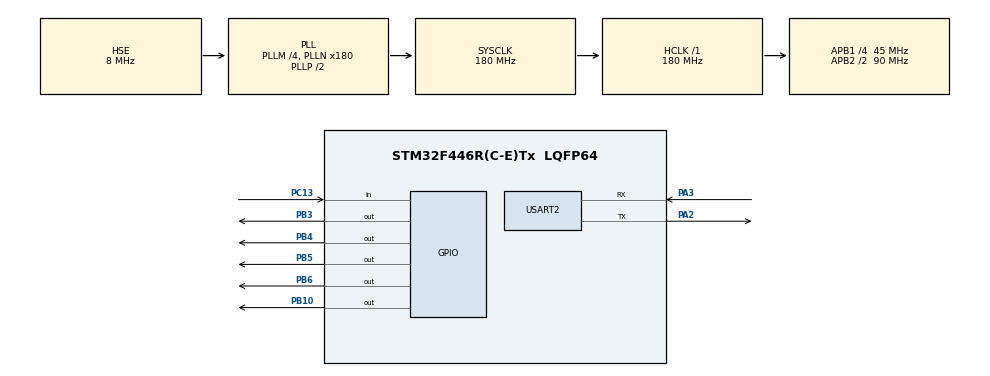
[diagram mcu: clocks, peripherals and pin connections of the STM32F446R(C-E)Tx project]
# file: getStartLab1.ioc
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FREERTOS.Tasks01=Task1,24,128,StartTask1,Default,NULL,Dynamic,NULL,NULL;Task2,24,128,StartTask2,Default,NULL,Dynamic,NULL,NULL;Task3,24,128,StartTask3,Default,NULL,Dynamic,NULL,NULL;Task4,24,128,StartTask4,Default,NULL,Dynamic,NULL,NULL;Task5,24,128,StartTask5,Default,NULL,Dynamic,NULL,NULL;Task6,24,128,StartTask6,Default,NULL,Dynamic,NULL,NULL
FREERTOS.configUSE_NEWLIB_REENTRANT=1
Mcu.Family=STM32F4
Mcu.Name=STM32F446R(C-E)Tx
Mcu.Package=LQFP64
NVIC.PriorityGroup=NVIC_PRIORITYGROUP_4
NVIC.TIM6_DAC_IRQn=true\:15\:0\:false\:false\:true\:false\:false\:true\:true
NVIC.TimeBase=TIM6_DAC_IRQn
NVIC.TimeBaseIP=TIM6
PA13.Mode=Serial_Wire
PA13.Signal=SYS_JTMS-SWDIO
PA14.Mode=Serial_Wire
PA14.Signal=SYS_JTCK-SWCLK
PA2.Mode=Asynchronous
PA2.Signal=USART2_TX
PA3.Mode=Asynchronous
PA3.Signal=USART2_RX
PB10.Signal=GPIO_Output
PB3.Signal=GPIO_Output
PB4.Signal=GPIO_Output
PB5.Signal=GPIO_Output
PB6.Signal=GPIO_Output
PC13.Signal=GPIO_Input
PH0-OSC_IN.Mode=HSE-External-Oscillator
PH0-OSC_IN.Signal=RCC_OSC_IN
PH1-OSC_OUT.Mode=HSE-External-Oscillator
PH1-OSC_OUT.Signal=RCC_OSC_OUT
ProjectManager.HeapSize=0x200
ProjectManager.StackSize=0x400
ProjectManager.TargetToolchain=STM32CubeIDE
RCC.48MHZClocksFreq_Value=84000000
RCC.AHBFreq_Value=180000000
RCC.APB1CLKDivider=RCC_HCLK_DIV4
RCC.APB1Freq_Value=45000000
RCC.APB1TimFreq_Value=90000000
RCC.APB2CLKDivider=RCC_HCLK_DIV2
RCC.APB2Freq_Value=90000000
RCC.APB2TimFreq_Value=180000000
RCC.CortexFreq_Value=180000000
RCC.FLatency-AdvancedSettings=FLASH_LATENCY_5
RCC.HCLKFreq_Value=180000000
RCC.HSE_VALUE=8000000
RCC.HSI_VALUE=16000000
RCC.PLLM=4
RCC.PLLN=180
RCC.PLLSourceVirtual=RCC_PLLSOURCE_HSE
RCC.SYSCLKFreq_VALUE=180000000
RCC.SYSCLKSource=RCC_SYSCLKSOURCE_PLLCLK
RCC.USBFreq_Value=180000000
RCC.VCOOutputFreq_Value=360000000
USART2.VirtualMode=VM_ASYNC
VP_FREERTOS_VS_CMSIS_V2.Mode=CMSIS_V2
VP_SYS_VS_tim6.Mode=TIM6
board=NUCLEO-F446RE

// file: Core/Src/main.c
/* USER CODE BEGIN Header */
/**
  ******************************************************************************
  * @file           : main.c
  * @brief          : Main program body
  ******************************************************************************
  * @attention
  *
  * Copyright (c) 2024 STMicroelectronics.
  * All rights reserved.
  *
  * This software is licensed under terms that can be found in the LICENSE file
  * in the root directory of this software component.
  * If no LICENSE file comes with this software, it is provided AS-IS.
  *
  ******************************************************************************
  */
/* USER CODE END Header */
#include "main.h"
#include "cmsis_os.h"

UART_HandleTypeDef huart2;

/* Definitions for Task1 */
osThreadId_t Task1Handle;
const osThreadAttr_t Task1_attributes = {
  .name = "Task1",
  .stack_size = 128 * 4,
  .priority = (osPriority_t) osPriorityNormal,
};
/* Definitions for Task2 */
osThreadId_t Task2Handle;
const osThreadAttr_t Task2_attributes = {
  .name = "Task2",
  .stack_size = 128 * 4,
  .priority = (osPriority_t) osPriorityNormal,
};
/* Definitions for Task3 */
osThreadId_t Task3Handle;
const osThreadAttr_t Task3_attributes = {
  .name = "Task3",
  .stack_size = 128 * 4,
  .priority = (osPriority_t) osPriorityNormal,
};
/* Definitions for Task4 */
osThreadId_t Task4Handle;
const osThreadAttr_t Task4_attributes = {
  .name = "Task4",
  .stack_size = 128 * 4,
  .priority = (osPriority_t) osPriorityNormal,
};
/* Definitions for Task5 */
osThreadId_t Task5Handle;
const osThreadAttr_t Task5_attributes = {
  .name = "Task5",
  .stack_size = 128 * 4,
  .priority = (osPriority_t) osPriorityNormal,
};
/* Definitions for Task6 */
osThreadId_t Task6Handle;
const osThreadAttr_t Task6_attributes = {
  .name = "Task6",
  .stack_size = 128 * 4,
  .priority = (osPriority_t) osPriorityNormal,
};

void SystemClock_Config(void);
static void MX_GPIO_Init(void);
static void MX_USART2_UART_Init(void);
void StartTask1(void *argument);
void StartTask2(void *argument);
void StartTask3(void *argument);
void StartTask4(void *argument);
void StartTask5(void *argument);
void StartTask6(void *argument);

/* USER CODE BEGIN 0 */
uint8_t dataTask1[] = "Task1: How are you?\r\n";
uint8_t dataTask2[] = "Task2: I am fine and you.\r\n";
uint8_t dataTask3[] = "Task3: It is nice you see here, Task3\r\n";

int flag = 0;

/* USER CODE END 0 */

int main(void)
{

  /* MCU Configuration--------------------------------------------------------*/

  /* Reset of all peripherals, Initializes the Flash interface and the Systick. */
  HAL_Init();

  /* Configure the system clock */
  SystemClock_Config();

  /* Initialize all configured peripherals */
  MX_GPIO_Init();
  MX_USART2_UART_Init();

  /* Init scheduler */
  osKernelInitialize();

  /* Create the thread(s) */
  /* creation of Task1 */
  Task1Handle = osThreadNew(StartTask1, NULL, &Task1_attributes);

  /* creation of Task2 */
  Task2Handle = osThreadNew(StartTask2, NULL, &Task2_attributes);

  /* creation of Task3 */
  Task3Handle = osThreadNew(StartTask3, NULL, &Task3_attributes);

  /* creation of Task4 */
  Task4Handle = osThreadNew(StartTask4, NULL, &Task4_attributes);

  /* creation of Task5 */
  Task5Handle = osThreadNew(StartTask5, NULL, &Task5_attributes);

  /* creation of Task6 */
  Task6Handle = osThreadNew(StartTask6, NULL, &Task6_attributes);

  /* Start scheduler */
  osKernelStart();

  /* We should never get here as control is now taken by the scheduler */
  /* Infinite loop */
  while (1)
  {

  }
}

void SystemClock_Config(void)
{
  RCC_OscInitTypeDef RCC_OscInitStruct = {0};
  RCC_ClkInitTypeDef RCC_ClkInitStruct = {0};

  /** Configure the main internal regulator output voltage
  */
  __HAL_RCC_PWR_CLK_ENABLE();
  __HAL_PWR_VOLTAGESCALING_CONFIG(PWR_REGULATOR_VOLTAGE_SCALE1);

  /** Initializes the RCC Oscillators according to the specified parameters
  * in the RCC_OscInitTypeDef structure.
  */
  RCC_OscInitStruct.OscillatorType = RCC_OSCILLATORTYPE_HSE;
  RCC_OscInitStruct.HSEState = RCC_HSE_ON;
  RCC_OscInitStruct.PLL.PLLState = RCC_PLL_ON;
  RCC_OscInitStruct.PLL.PLLSource = RCC_PLLSOURCE_HSE;
  RCC_OscInitStruct.PLL.PLLM = 4;
  RCC_OscInitStruct.PLL.PLLN = 180;
  RCC_OscInitStruct.PLL.PLLP = RCC_PLLP_DIV2;
  RCC_OscInitStruct.PLL.PLLQ = 2;
  RCC_OscInitStruct.PLL.PLLR = 2;
  if (HAL_RCC_OscConfig(&RCC_OscInitStruct) != HAL_OK)
  {
    Error_Handler();
  }

  /** Activate the Over-Drive mode
  */
  if (HAL_PWREx_EnableOverDrive() != HAL_OK)
  {
    Error_Handler();
  }

  /** Initializes the CPU, AHB and APB buses clocks
  */
  RCC_ClkInitStruct.ClockType = RCC_CLOCKTYPE_HCLK|RCC_CLOCKTYPE_SYSCLK
                              |RCC_CLOCKTYPE_PCLK1|RCC_CLOCKTYPE_PCLK2;
  RCC_ClkInitStruct.SYSCLKSource = RCC_SYSCLKSOURCE_PLLCLK;
  RCC_ClkInitStruct.AHBCLKDivider = RCC_SYSCLK_DIV1;
  RCC_ClkInitStruct.APB1CLKDivider = RCC_HCLK_DIV4;
  RCC_ClkInitStruct.APB2CLKDivider = RCC_HCLK_DIV2;

  if (HAL_RCC_ClockConfig(&RCC_ClkInitStruct, FLASH_LATENCY_5) != HAL_OK)
  {
    Error_Handler();
  }
}

static void MX_USART2_UART_Init(void)
{

  huart2.Instance = USART2;
  huart2.Init.BaudRate = 115200;
  huart2.Init.WordLength = UART_WORDLENGTH_8B;
  huart2.Init.StopBits = UART_STOPBITS_1;
  huart2.Init.Parity = UART_PARITY_NONE;
  huart2.Init.Mode = UART_MODE_TX_RX;
  huart2.Init.HwFlowCtl = UART_HWCONTROL_NONE;
  huart2.Init.OverSampling = UART_OVERSAMPLING_16;
  if (HAL_UART_Init(&huart2) != HAL_OK)
  {
    Error_Handler();
  }

}

static void MX_GPIO_Init(void)
{
  GPIO_InitTypeDef GPIO_InitStruct = {0};

  /* GPIO Ports Clock Enable */
  __HAL_RCC_GPIOC_CLK_ENABLE();
  __HAL_RCC_GPIOH_CLK_ENABLE();
  __HAL_RCC_GPIOA_CLK_ENABLE();
  __HAL_RCC_GPIOB_CLK_ENABLE();

  /*Configure GPIO pin Output Level */
  HAL_GPIO_WritePin(GPIOB, GPIO_PIN_10|GPIO_PIN_3|GPIO_PIN_4|GPIO_PIN_5
                          |GPIO_PIN_6, GPIO_PIN_RESET);

  /*Configure GPIO pin : PC13 */
  GPIO_InitStruct.Pin = GPIO_PIN_13;
  GPIO_InitStruct.Mode = GPIO_MODE_INPUT;
  GPIO_InitStruct.Pull = GPIO_NOPULL;
  HAL_GPIO_Init(GPIOC, &GPIO_InitStruct);

  /*Configure GPIO pins : PB10 PB3 PB4 PB5
                           PB6 */
  GPIO_InitStruct.Pin = GPIO_PIN_10|GPIO_PIN_3|GPIO_PIN_4|GPIO_PIN_5
                          |GPIO_PIN_6;
  GPIO_InitStruct.Mode = GPIO_MODE_OUTPUT_PP;
  GPIO_InitStruct.Pull = GPIO_NOPULL;
  GPIO_InitStruct.Speed = GPIO_SPEED_FREQ_LOW;
  HAL_GPIO_Init(GPIOB, &GPIO_InitStruct);

}

void StartTask1(void *argument)
{
  /* USER CODE BEGIN 5 */
  /* Infinite loop */
  for(;;)
  {
	  // Green light = PIN 4
	  HAL_UART_Transmit(&huart2, dataTask1, sizeof(dataTask1), 1000);
	 // HAL_GPIO_WritePin(GPIOB, GPIO_PIN_3|GPIO_PIN_4|GPIO_PIN_5, GPIO_PIN_RESET);
	  HAL_GPIO_TogglePin(GPIOB,GPIO_PIN_4);//Green LED (Phase 1)

	  if (flag) {
		  HAL_GPIO_TogglePin(GPIOB,GPIO_PIN_4); // Phases 2 a 6
		  osDelay(17000);
		  HAL_GPIO_TogglePin(GPIOB,GPIO_PIN_4); // Retour a Phase 7/1
	  }
  }
  /* USER CODE END 5 */
}

void StartTask2(void *argument)
{
  /* USER CODE BEGIN StartTask2 */
  /* Infinite loop */
  for(;;)
  {
	  // Yellow light = PIN 5
	  HAL_UART_Transmit(&huart2, dataTask2, sizeof(dataTask2), 1000);
	  if (flag) {
		  HAL_GPIO_TogglePin(GPIOB,GPIO_PIN_5);// Phase 2
		  osDelay(3000);
		  HAL_GPIO_TogglePin(GPIOB,GPIO_PIN_5);// Phases 3 a 5
		  osDelay(12000);
		  HAL_GPIO_TogglePin(GPIOB,GPIO_PIN_5);// Phase 6
		  osDelay(2000);
		  HAL_GPIO_TogglePin(GPIOB,GPIO_PIN_5);// Retour a Phase 7/1
	  }

  }
  /* USER CODE END StartTask2 */
}

void StartTask3(void *argument)
{
  /* USER CODE BEGIN StartTask3 */
  /* Infinite loop */

  for(;;)
  // Red light = PIN 3
  {
	  if (flag) {
		  osDelay(3000); // Phase 2
		  HAL_GPIO_TogglePin(GPIOB, GPIO_PIN_3); // Phase 3 a 6
		  osDelay(14000);
		  HAL_GPIO_TogglePin(GPIOB, GPIO_PIN_3); // Retour a phase 7/1
	  }
//	  HAL_UART_Transmit(&huart2, dataTask3, sizeof(dataTask3), 1000);

  }
  /* USER CODE END StartTask3 */
}

void StartTask4(void *argument)
{
  /* USER CODE BEGIN StartTask4 */
  /* Infinite loop */
  for(;;)
  {
	  // Pedestrian Green LED = PIN 10
	  uint8_t dataTask4[] = "Task 5: I toggle GPIOB pin 10.\r\n";
	  if(flag)
	  {
//		 HAL_UART_Transmit(&huart2, dataTask4, sizeof(dataTask4), 1000);
	     osDelay(4000); // Phase 2 a 3
	     HAL_GPIO_TogglePin(GPIOB,GPIO_PIN_10); // Phase 4
	     osDelay(10000);
	     HAL_GPIO_TogglePin(GPIOB,GPIO_PIN_10); // Phase 5 a 7
	     osDelay(3000);
	 	 flag = 0;

	  }

  }
  /* USER CODE END StartTask4 */
}

void StartTask5(void *argument)
{
  /* USER CODE BEGIN StartTask5 */
  /* Infinite loop */
  for(;;)
  {
	  uint8_t str1[] = "I am waiting push-button\r\n";
	  HAL_UART_Transmit(&huart2, str1, sizeof(str1), 1000);
	  while(HAL_GPIO_ReadPin(GPIOC, GPIO_PIN_13));
	  flag = 1;
	  uint8_t str2[] = "I got push-button\r\n";
	  HAL_UART_Transmit(&huart2, str2, sizeof(str2), 1000);
	  osDelay(500);
  }
  /* USER CODE END StartTask5 */
}

void StartTask6(void *argument)
{
  /* USER CODE BEGIN StartTask6 */
  /* Infinite loop */

  for(;;)
  {
	  // Pedestrian Red LED = Pin 6
	  HAL_GPIO_TogglePin(GPIOB,GPIO_PIN_6); // Phase 1
	  if (flag) {
		  osDelay(4000); // Phase 3 a 4
		  HAL_GPIO_TogglePin(GPIOB,GPIO_PIN_6); // Phase 4
		  osDelay(10000);
		  HAL_GPIO_TogglePin(GPIOB,GPIO_PIN_6);  // Phase 5 a 7
		  osDelay(3000);
	  }
  }
  /* USER CODE END StartTask6 */
}

void HAL_TIM_PeriodElapsedCallback(TIM_HandleTypeDef *htim)
{
  if (htim->Instance == TIM6) {
    HAL_IncTick();
  }
}

void Error_Handler(void)
{
  __disable_irq();
  while (1)
  {
  }
}
